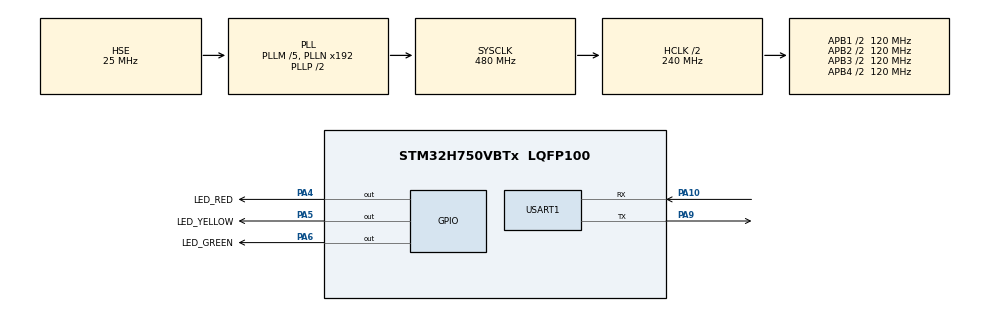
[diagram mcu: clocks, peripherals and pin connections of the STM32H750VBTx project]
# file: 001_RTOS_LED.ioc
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CORTEX_M7.default_mode_Activation=1
FREERTOS.Tasks01=defaultTask,24,128,StartDefaultTask,Default,NULL,Dynamic,NULL,NULL;ledRedTask,24,128,StartLedRedTask,Default,NULL,Dynamic,NULL,NULL;ledYellowTask,24,128,StartLedYellowTask,Default,NULL,Dynamic,NULL,NULL;ledGreenTask,24,128,StartLedGreenTask,Default,NULL,Dynamic,NULL,NULL
FREERTOS.configENABLE_FPU=1
FREERTOS.configUSE_NEWLIB_REENTRANT=1
Mcu.Family=STM32H7
Mcu.Name=STM32H750VBTx
Mcu.Package=LQFP100
NVIC.PriorityGroup=NVIC_PRIORITYGROUP_4
NVIC.TIM6_DAC_IRQn=true\:15\:0\:false\:false\:true\:false\:false\:true\:true
NVIC.TimeBase=TIM6_DAC_IRQn
NVIC.TimeBaseIP=TIM6
PA10.Mode=Asynchronous
PA10.Signal=USART1_RX
PA4.GPIO_Label=LED_RED
PA4.Signal=GPIO_Output
PA5.GPIO_Label=LED_YELLOW
PA5.Signal=GPIO_Output
PA6.GPIO_Label=LED_GREEN
PA6.Signal=GPIO_Output
PA9.Mode=Asynchronous
PA9.Signal=USART1_TX
PH0-OSC_IN\ (PH0).Mode=HSE-External-Oscillator
PH0-OSC_IN\ (PH0).Signal=RCC_OSC_IN
PH1-OSC_OUT\ (PH1).Mode=HSE-External-Oscillator
PH1-OSC_OUT\ (PH1).Signal=RCC_OSC_OUT
ProjectManager.HeapSize=0x1000
ProjectManager.StackSize=0x1000
ProjectManager.TargetToolchain=STM32CubeIDE
RCC.ADCFreq_Value=50390625
RCC.APB1Freq_Value=120000000
RCC.APB2Freq_Value=120000000
RCC.APB3Freq_Value=120000000
RCC.APB4Freq_Value=120000000
RCC.CortexFreq_Value=480000000
RCC.D1PPRE=RCC_APB3_DIV2
RCC.D2PPRE1=RCC_APB1_DIV2
RCC.D2PPRE2=RCC_APB2_DIV2
RCC.D3PPRE=RCC_APB4_DIV2
RCC.DIVM1=5
RCC.DIVN1=192
RCC.HCLKFreq_Value=240000000
RCC.HPRE=RCC_HCLK_DIV2
RCC.PLLFRACN=0
RCC.PLLSourceVirtual=RCC_PLLSOURCE_HSE
RCC.SYSCLKFreq_VALUE=480000000
RCC.SYSCLKSource=RCC_SYSCLKSOURCE_PLLCLK
RCC.USBFreq_Value=480000000
USART1.VirtualMode-Asynchronous=VM_ASYNC
VP_FREERTOS_VS_CMSIS_V2.Mode=CMSIS_V2
VP_MEMORYMAP_VS_MEMORYMAP.Mode=CurAppReg
VP_SYS_VS_tim6.Mode=TIM6
board=custom

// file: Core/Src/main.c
/* USER CODE BEGIN Header */
/**
  ******************************************************************************
  * @file           : main.c
  * @brief          : Main program body
  ******************************************************************************
  * @attention
  *
  * Copyright (c) 2025 STMicroelectronics.
  * All rights reserved.
  *
  * This software is licensed under terms that can be found in the LICENSE file
  * in the root directory of this software component.
  * If no LICENSE file comes with this software, it is provided AS-IS.
  *
  ******************************************************************************
  */
/* USER CODE END Header */
#include "main.h"
#include "cmsis_os.h"
#include "usart.h"
#include "gpio.h"

/* USER CODE BEGIN Includes */

#include <string.h>

/* USER CODE END Includes */

void SystemClock_Config(void);
static void MPU_Config(void);
void MX_FREERTOS_Init(void);

/* USER CODE BEGIN 0 */

int _write(int file, char *ptr, int len)
{
  HAL_UART_Transmit(&huart1, (uint8_t *)ptr, len, HAL_MAX_DELAY);
  return len;
}

/* USER CODE END 0 */

int main(void)
{

  /* MPU Configuration--------------------------------------------------------*/
  MPU_Config();

  /* MCU Configuration--------------------------------------------------------*/

  /* Reset of all peripherals, Initializes the Flash interface and the Systick. */
  HAL_Init();

  /* Configure the system clock */
  SystemClock_Config();

  /* Initialize all configured peripherals */
  MX_GPIO_Init();
  MX_USART1_UART_Init();
  /* USER CODE BEGIN 2 */

  // Test UART sebelum start RTOS
  char test_msg[] = "UART Test - Before RTOS Start\r\n";
  HAL_UART_Transmit(&huart1, (uint8_t *)test_msg, strlen(test_msg), 1000);

  /* USER CODE END 2 */

  /* Init scheduler */
  osKernelInitialize();  /* Call init function for freertos objects (in cmsis_os2.c) */
  MX_FREERTOS_Init();

  /* Start scheduler */
  osKernelStart();

  /* We should never get here as control is now taken by the scheduler */

  /* Infinite loop */
  while (1)
  {

  }
}

void SystemClock_Config(void)
{
  RCC_OscInitTypeDef RCC_OscInitStruct = {0};
  RCC_ClkInitTypeDef RCC_ClkInitStruct = {0};

  /** Supply configuration update enable
  */
  HAL_PWREx_ConfigSupply(PWR_LDO_SUPPLY);

  /** Configure the main internal regulator output voltage
  */
  __HAL_PWR_VOLTAGESCALING_CONFIG(PWR_REGULATOR_VOLTAGE_SCALE0);

  while(!__HAL_PWR_GET_FLAG(PWR_FLAG_VOSRDY)) {}

  /** Initializes the RCC Oscillators according to the specified parameters
  * in the RCC_OscInitTypeDef structure.
  */
  RCC_OscInitStruct.OscillatorType = RCC_OSCILLATORTYPE_HSE;
  RCC_OscInitStruct.HSEState = RCC_HSE_ON;
  RCC_OscInitStruct.PLL.PLLState = RCC_PLL_ON;
  RCC_OscInitStruct.PLL.PLLSource = RCC_PLLSOURCE_HSE;
  RCC_OscInitStruct.PLL.PLLM = 5;
  RCC_OscInitStruct.PLL.PLLN = 192;
  RCC_OscInitStruct.PLL.PLLP = 2;
  RCC_OscInitStruct.PLL.PLLQ = 2;
  RCC_OscInitStruct.PLL.PLLR = 2;
  RCC_OscInitStruct.PLL.PLLRGE = RCC_PLL1VCIRANGE_2;
  RCC_OscInitStruct.PLL.PLLVCOSEL = RCC_PLL1VCOWIDE;
  RCC_OscInitStruct.PLL.PLLFRACN = 0;
  if (HAL_RCC_OscConfig(&RCC_OscInitStruct) != HAL_OK)
  {
    Error_Handler();
  }

  /** Initializes the CPU, AHB and APB buses clocks
  */
  RCC_ClkInitStruct.ClockType = RCC_CLOCKTYPE_HCLK|RCC_CLOCKTYPE_SYSCLK
                              |RCC_CLOCKTYPE_PCLK1|RCC_CLOCKTYPE_PCLK2
                              |RCC_CLOCKTYPE_D3PCLK1|RCC_CLOCKTYPE_D1PCLK1;
  RCC_ClkInitStruct.SYSCLKSource = RCC_SYSCLKSOURCE_PLLCLK;
  RCC_ClkInitStruct.SYSCLKDivider = RCC_SYSCLK_DIV1;
  RCC_ClkInitStruct.AHBCLKDivider = RCC_HCLK_DIV2;
  RCC_ClkInitStruct.APB3CLKDivider = RCC_APB3_DIV2;
  RCC_ClkInitStruct.APB1CLKDivider = RCC_APB1_DIV2;
  RCC_ClkInitStruct.APB2CLKDivider = RCC_APB2_DIV2;
  RCC_ClkInitStruct.APB4CLKDivider = RCC_APB4_DIV2;

  if (HAL_RCC_ClockConfig(&RCC_ClkInitStruct, FLASH_LATENCY_4) != HAL_OK)
  {
    Error_Handler();
  }
}

 /* MPU Configuration */

void MPU_Config(void)
{
  MPU_Region_InitTypeDef MPU_InitStruct = {0};

  /* Disables the MPU */
  HAL_MPU_Disable();

  /** Initializes and configures the Region and the memory to be protected
  */
  MPU_InitStruct.Enable = MPU_REGION_ENABLE;
  MPU_InitStruct.Number = MPU_REGION_NUMBER0;
  MPU_InitStruct.BaseAddress = 0x0;
  MPU_InitStruct.Size = MPU_REGION_SIZE_4GB;
  MPU_InitStruct.SubRegionDisable = 0x87;
  MPU_InitStruct.TypeExtField = MPU_TEX_LEVEL0;
  MPU_InitStruct.AccessPermission = MPU_REGION_NO_ACCESS;
  MPU_InitStruct.DisableExec = MPU_INSTRUCTION_ACCESS_DISABLE;
  MPU_InitStruct.IsShareable = MPU_ACCESS_SHAREABLE;
  MPU_InitStruct.IsCacheable = MPU_ACCESS_NOT_CACHEABLE;
  MPU_InitStruct.IsBufferable = MPU_ACCESS_NOT_BUFFERABLE;

  HAL_MPU_ConfigRegion(&MPU_InitStruct);
  /* Enables the MPU */
  HAL_MPU_Enable(MPU_PRIVILEGED_DEFAULT);

}

void HAL_TIM_PeriodElapsedCallback(TIM_HandleTypeDef *htim)
{
  if (htim->Instance == TIM6)
  {
    HAL_IncTick();
  }
}

void Error_Handler(void)
{
  __disable_irq();
  while (1)
  {
  }
}

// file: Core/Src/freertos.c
/* USER CODE BEGIN Header */
/**
  ******************************************************************************
  * File Name          : freertos.c
  * Description        : Code for freertos applications
  ******************************************************************************
  * @attention
  *
  * Copyright (c) 2025 STMicroelectronics.
  * All rights reserved.
  *
  * This software is licensed under terms that can be found in the LICENSE file
  * in the root directory of this software component.
  * If no LICENSE file comes with this software, it is provided AS-IS.
  *
  ******************************************************************************
  */
/* USER CODE END Header */

#include "FreeRTOS.h"
#include "task.h"
#include "main.h"
#include "cmsis_os.h"

/* USER CODE BEGIN Includes */

#include <stdio.h>
#include <string.h>

#include "usart.h"

/* USER CODE END Includes */

/* USER CODE BEGIN Variables */

uint32_t ledRedCounter = 0;
uint32_t ledYellowCounter = 0;
uint32_t ledGreenCounter = 0;

char uart_buffer[100];

/* USER CODE END Variables */
/* Definitions for defaultTask */
osThreadId_t defaultTaskHandle;
const osThreadAttr_t defaultTask_attributes = {
  .name = "defaultTask",
  .stack_size = 128 * 4,
  .priority = (osPriority_t) osPriorityNormal,
};
/* Definitions for ledRedTask */
osThreadId_t ledRedTaskHandle;
const osThreadAttr_t ledRedTask_attributes = {
  .name = "ledRedTask",
  .stack_size = 128 * 4,
  .priority = (osPriority_t) osPriorityNormal,
};
/* Definitions for ledYellowTask */
osThreadId_t ledYellowTaskHandle;
const osThreadAttr_t ledYellowTask_attributes = {
  .name = "ledYellowTask",
  .stack_size = 128 * 4,
  .priority = (osPriority_t) osPriorityNormal,
};
/* Definitions for ledGreenTask */
osThreadId_t ledGreenTaskHandle;
const osThreadAttr_t ledGreenTask_attributes = {
  .name = "ledGreenTask",
  .stack_size = 128 * 4,
  .priority = (osPriority_t) osPriorityNormal,
};

void StartDefaultTask(void *argument);
void StartLedRedTask(void *argument);
void StartLedYellowTask(void *argument);
void StartLedGreenTask(void *argument);

void MX_FREERTOS_Init(void); /* (MISRA C 2004 rule 8.1) */

void MX_FREERTOS_Init(void) {

  /* Create the thread(s) */
  /* creation of defaultTask */
  defaultTaskHandle = osThreadNew(StartDefaultTask, NULL, &defaultTask_attributes);

  /* creation of ledRedTask */
  ledRedTaskHandle = osThreadNew(StartLedRedTask, NULL, &ledRedTask_attributes);

  /* creation of ledYellowTask */
  ledYellowTaskHandle = osThreadNew(StartLedYellowTask, NULL, &ledYellowTask_attributes);

  /* creation of ledGreenTask */
  ledGreenTaskHandle = osThreadNew(StartLedGreenTask, NULL, &ledGreenTask_attributes);

}

void StartDefaultTask(void *argument)
{
  /* USER CODE BEGIN StartDefaultTask */

  char msg[150];

  // Pesan startup
  sprintf(msg, "\r\n=== STM32H750 FreeRTOS LED Demo ===\r\n");
  HAL_UART_Transmit(&huart1, (uint8_t *)msg, strlen(msg), 1000);

  /* Infinite loop */
  for(;;)
  {
    // Print status setiap 1 detik
    sprintf(msg, "Status - RED: %lu | YELLOW: %lu | GREEN: %lu | Tick: %lu\r\n",
            ledRedCounter, ledYellowCounter, ledGreenCounter, osKernelGetTickCount());
    HAL_UART_Transmit(&huart1, (uint8_t *)msg, strlen(msg), 1000);

    osDelay(1000);
  }
  /* USER CODE END StartDefaultTask */
}

void StartLedRedTask(void *argument)
{
  /* USER CODE BEGIN StartLedRedTask */
  /* Infinite loop */
  for(;;)
  {
    HAL_GPIO_TogglePin(LED_RED_GPIO_Port, LED_RED_Pin);
    ledRedCounter++;

    // Print setiap 1000 kali toggle (agar tidak flood UART)
    if(ledRedCounter % 1000 == 0) {
      sprintf(uart_buffer, "LED RED: %lu toggles\r\n", ledRedCounter);
      HAL_UART_Transmit(&huart1, (uint8_t *)uart_buffer, strlen(uart_buffer), 100);
    }

    osDelay(500);
  }
  /* USER CODE END StartLedRedTask */
}

void StartLedYellowTask(void *argument)
{
  /* USER CODE BEGIN StartLedYellowTask */
  /* Infinite loop */
  for(;;)
  {
    HAL_GPIO_TogglePin(LED_YELLOW_GPIO_Port, LED_YELLOW_Pin);
    ledYellowCounter++;

    if(ledYellowCounter % 100 == 0) {
      sprintf(uart_buffer, "LED YELLOW: %lu toggles\r\n", ledYellowCounter);
      HAL_UART_Transmit(&huart1, (uint8_t *)uart_buffer, strlen(uart_buffer), 100);
    }

    osDelay(200);
  }
  /* USER CODE END StartLedYellowTask */
}

void StartLedGreenTask(void *argument)
{
  /* USER CODE BEGIN StartLedGreenTask */
  /* Infinite loop */
  for(;;)
  {
    HAL_GPIO_TogglePin(LED_GREEN_GPIO_Port, LED_GREEN_Pin);
    ledGreenCounter++;

    if(ledGreenCounter % 500 == 0) {
      sprintf(uart_buffer, "LED GREEN: %lu toggles\r\n", ledGreenCounter);
      HAL_UART_Transmit(&huart1, (uint8_t *)uart_buffer, strlen(uart_buffer), 100);
    }

    osDelay(100);
  }
  /* USER CODE END StartLedGreenTask */
}
